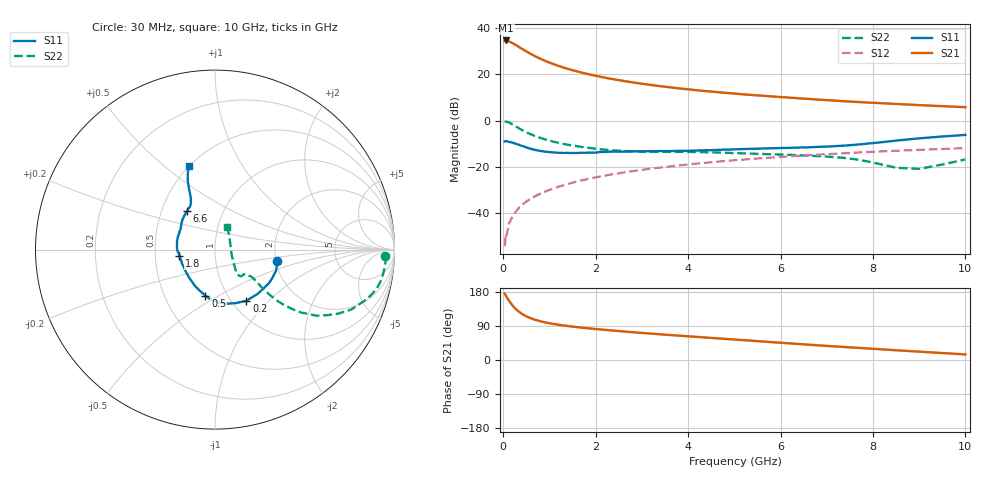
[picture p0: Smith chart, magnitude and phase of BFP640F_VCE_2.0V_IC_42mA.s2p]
! Infineon Technologies  Discrete & RF Semiconductors
! BFP640F
! VCE =  2.0 V,  IC =  42 mA
! Common Emitter S-Parameters:  Apr 2013
# GHz  S  MA  R  50
!  f  S11  S21  S12  S22
! GHz  MAG  ANG  MAG  ANG  MAG  ANG  MAG  ANG
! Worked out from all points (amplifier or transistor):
!   99 points, 30 MHz to 10 GHz, reference 50 ohm
!   highest |S21| = 34.7 dB at 60 MHz (marker M1)
!   |S21| within 3 dB of that: start of sweep to 351.5 MHz
!   unconditionally stable (mu >= 1): 1.405 GHz to end of sweep
!   at 350 MHz: K = 0.59, MSG = 34.6 dB, |S12| = -37.5 dB
!   at 3.5 GHz: K = 1.07, MAG = 15.8 dB, |S12| = -20.1 dB
!   at 10 GHz: K = 1.04, MAG = 7.6 dB, |S12| = -11.9 dB
!   S11 on the Smith chart (normalised r, x): 30 MHz: 2.04, -0.29; 200 MHz: 1.17, -0.75; 500 MHz: 0.79, -0.44; 1.8 GHz: 0.67, -0.05; 6.6 GHz: 0.67, +0.31; 10 GHz: 0.50, +0.61
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0.03  0.3533 -10.1  53.18 175.3  0.0019 106.6  0.948 -2.1
0.06  0.3599 -19.2  54.62 169.2  0.0027 95.7  0.9493 -6.7
0.08  0.3566 -25.7  54.38 165.0  0.0035 78.2  0.9436 -9.7
0.12  0.3467 -38.4  51.94 157.4  0.0057 77.5  0.9134 -15.3
0.2  0.3341 -58.5  47.85 144.1  0.0084 77.2  0.8286 -23.8
0.25  0.3199 -68.8  44.89 137.3  0.0099 73.5  0.7716 -27.6
0.3  0.3088 -77.2  41.95 131.4  0.0115 74.5  0.7203 -30.5
0.4  0.2832 -90.8  36.41 122.2  0.0149 73.6  0.6284 -34.7
0.5  0.2615 -101.7  31.64 115.3  0.0176 73.8  0.5583 -37.2
0.6  0.2438 -110.7  27.78 110.0  0.0206 74.1  0.5034 -38.5
0.7  0.2311 -118.8  24.56 105.8  0.0233 73.3  0.4592 -39.3
0.9  0.2133 -132.1  19.87 99.5  0.0287 73.3  0.3927 -39.6
1.3  0.1994 -152.3  14.18 91.2  0.0397 72.8  0.3129 -38.3
1.7  0.2006 -167.0  10.97 85.4  0.0506 71.4  0.2684 -36.8
1.8  0.2012 -169.9  10.38 84.1  0.0534 71.1  0.2609 -36.9
2.5  0.2133 174.3  7.537 76.3  0.0721 68.0  0.2236 -38.3
3.4  0.2197 158.9  5.576 67.8  0.0962 63.2  0.2104 -42.2
5.1  0.2397 140.2  3.785 53.2  0.1407 53.9  0.1965 -47.5
6.6  0.264 126.1  2.952 40.4  0.1777 44.9  0.1737 -47.4
6.7  0.2664 124.9  2.906 39.6  0.1801 44.4  0.1722 -47.1
8.5  0.3686 113.1  2.298 25.7  0.2221 33.5  0.0952 -15.0
10  0.4898 107.2  1.955 14.7  0.2535 24.7  0.1441 62.9
